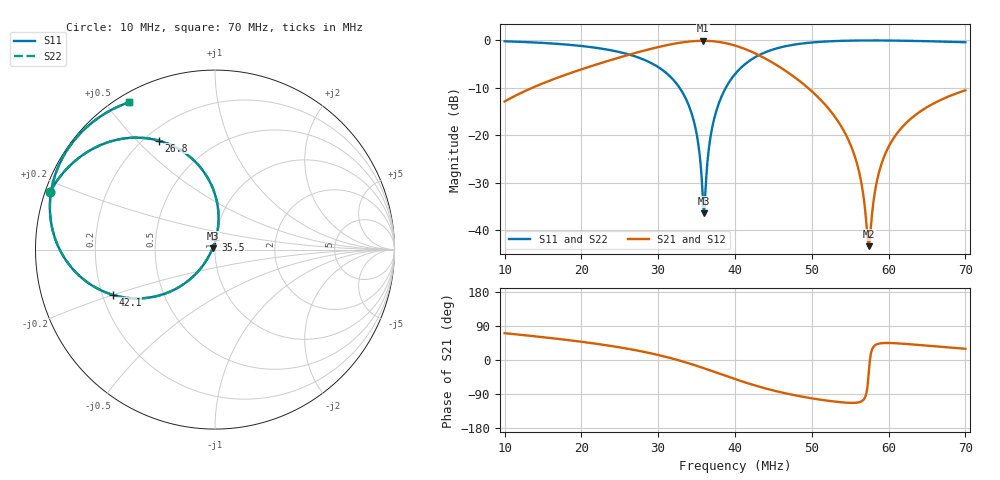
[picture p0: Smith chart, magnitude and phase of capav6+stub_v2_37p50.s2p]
! Touchstone file exported from HFSS 2025.2.0
!  File:  C:/Users/32474/OneDrive - UCL/Documents/Ingenieur/MASTER1/Stage/HFSS/capav6+stub.aedt
!  Generated:  07:04:26 PM Jul 17, 2026
!  Design:  HFSSDesign1
!  Project:  capav6+stub
!  Setup:  Setup4
!  Solution:  Sweep
# GHz S MA R 50.000000
! Terminal data exported
! Port[1] = capa_37p50_v2_1_1
! Port[2] = capa_37p50_v2_1_2
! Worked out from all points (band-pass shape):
!   401 points, 10 MHz to 70 MHz, reference 50 ohm
!   highest |S21| = -0.13 dB at 35.8 MHz (marker M1); lowest = -43.4 dB at 57.4 MHz (marker M2)
!   |S21| within 3 dB of the highest: 26.05 MHz to 43.07 MHz (17.02 MHz wide, 49.2 % of centre)
!   lowest |S11| = -36.4 dB at 35.95 MHz (marker M3), VSWR 1.03, Z = 48.6 + j0.63 ohm
!   |S11| at or under -10 dB: 32.77 MHz to 38.81 MHz (6.034 MHz wide, 16.9 % of centre)
!   |S22| runs from -36.6 to -0.1 dB; largest |S21 - S12| = 3.8e-15
!   S11 on the Smith chart (normalised r, x): 10 MHz: 0.01, +0.17; 26.8 MHz: 0.25, +0.58; 35.5 MHz: 1.00, +0.10; 42.1 MHz: 0.24, -0.20; 70 MHz: 0.03, +0.57
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0.01  0.9738 160.8  0.2266 70.8  0.2266 70.8  0.9738 160.8
! Gamma 4.27468475804196E-05 0.209627353644741 4.36185954175259E-05 0.209628274631277
! Port Impedance 50 0 50 0
0.02005  0.8676 138.2  0.4948 48.0  0.4948 48.0  0.8676 138.2
0.0268  0.683 117.3  0.7251 26.8  0.7251 26.8  0.683 117.3
0.0301  0.5148 103.6  0.8495 12.7  0.8495 12.7  0.5148 103.6
0.03385  0.2184 85.3  0.9638 -7.9  0.9638 -7.9  0.2184 85.2
0.0349  0.114 82.2  0.98 -14.7  0.98 -14.7  0.114 82.1
0.0355  0.05184 87.6  0.9844 -18.7  0.9844 -18.7  0.05176 87.2
0.0358  0.02285 110.0  0.985 -20.7  0.985 -20.7  0.02266 109.4
0.03595  0.01514 154.7  0.985 -21.7  0.985 -21.7  0.01484 154.6
0.03685  0.1003 -127.4  0.9788 -28.0  0.9788 -28.0  0.1002 -127.3
0.03745  0.167 -128.2  0.969 -32.3  0.969 -32.3  0.167 -128.1
0.04  0.4392 -142.9  0.8781 -50.3  0.8781 -50.3  0.4392 -142.9
0.0421  0.6237 -156.2  0.759 -64.1  0.759 -64.1  0.6237 -156.2
0.04585  0.837 -176.4  0.5202 -84.6  0.5202 -84.6  0.837 -176.5
0.05005  0.9464 166.4  0.2876 -101.3  0.2876 -101.3  0.9464 166.4
0.05515  0.9893 150.9  0.0755 -113.2  0.0755 -113.2  0.9893 150.9
0.05635  0.9921 147.9  0.03483 -110.2  0.03483 -110.2  0.9921 147.8
0.0574  0.9931 145.3  0.006799 -38.1  0.006799 -38.1  0.9931 145.3
0.0586  0.9929 142.5  0.03637 42.4  0.03637 42.4  0.9929 142.5
0.0601  0.991 139.2  0.07825 44.9  0.07825 44.9  0.991 139.1
0.06385  0.9802 131.5  0.1715 39.9  0.1715 39.9  0.9802 131.5
0.07  0.9509 120.4  0.2972 29.6  0.2972 29.6  0.9509 120.4
